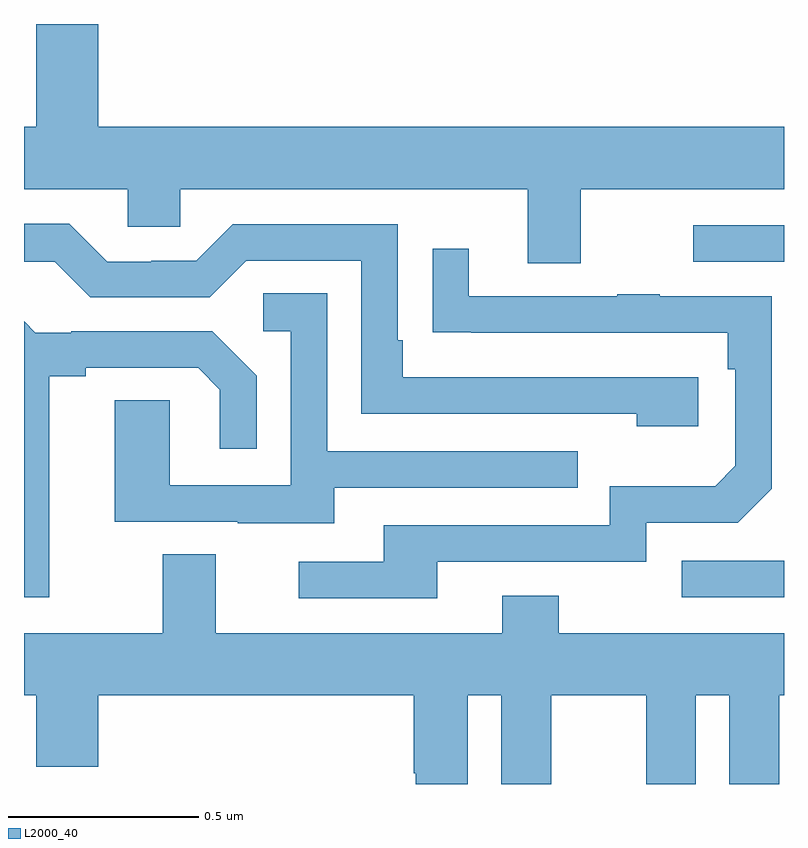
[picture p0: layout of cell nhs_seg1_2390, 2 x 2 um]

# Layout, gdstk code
import gdstk
lib = gdstk.Library(unit=1e-6, precision=1e-09)
def R(c, l, rs):  # rectangles x0, y0, x1, y1
    for r in rs: c.add(gdstk.rectangle(r[:2], r[2:], *l))
def P(c, l, *ps):  # polygons
    for p in ps: c.add(gdstk.Polygon(p, *l))
L2000_40 = (2000, 40)

nhs_seg1_2390 = lib.new_cell('nhs_seg1_2390')
R(nhs_seg1_2390, L2000_40, [(142.731,518.691,143,518.787), (142.761,519.573,143,519.669)])
P(nhs_seg1_2390, L2000_40, [(142.465,519.764),(143,519.764),(143,519.928),(141.196,519.928),(141.196,520.199),(141.032,520.199),(141.032,519.928),(141,519.928),(141,519.764),(141.273,519.764),(141.273,519.666),(141.411,519.666),(141.411,519.764),(142.325,519.764),(142.325,519.57),(142.465,519.57)],
  [(142.774,519.27),(141.997,519.27),(141.997,519.367),(141.984,519.367),(141.984,519.672),(141.549,519.672),(141.453,519.576),(141.335,519.576),(141.335,519.573),(141.219,519.573),(141.119,519.673),(141,519.673),(141,519.573),(141.081,519.573),(141.174,519.48),(141.489,519.48),(141.585,519.576),(141.888,519.576),(141.888,519.174),(142.613,519.174),(142.613,519.14),(142.774,519.14)],
  [(142.087,518.784),(142.638,518.784),(142.638,518.886),(142.878,518.886),(142.968,518.976),(142.968,519.483),(142.673,519.483),(142.673,519.488),(142.561,519.488),(142.561,519.483),(142.171,519.483),(142.171,519.607),(142.075,519.607),(142.075,519.388),(142.177,519.388),(142.177,519.387),(142.852,519.387),(142.852,519.29),(142.872,519.29),(142.872,519.036),(142.819,518.983),(142.542,518.983),(142.542,518.88),(141.947,518.88),(141.947,518.784),(141.723,518.784),(141.723,518.688),(142.087,518.688)],
  [(141.817,518.979),(142.457,518.979),(142.457,519.075),(141.798,519.075),(141.798,519.491),(141.63,519.491),(141.63,519.39),(141.702,519.39),(141.702,518.985),(141.384,518.985),(141.384,519.209),(141.239,519.209),(141.239,518.889),(141.563,518.889),(141.563,518.885),(141.817,518.885)],
  [(141.067,519.272),(141.163,519.272),(141.163,519.294),(141.458,519.294),(141.515,519.237),(141.515,519.081),(141.612,519.081),(141.612,519.274),(141.496,519.39),(141.124,519.39),(141.124,519.387),(141.03,519.387),(141,519.417),(141,518.691),(141.067,518.691)],
  [(142.168,518.432),(142.256,518.432),(142.256,518.199),(142.387,518.199),(142.387,518.432),(142.637,518.432),(142.637,518.199),(142.768,518.199),(142.768,518.432),(142.856,518.432),(142.856,518.199),(142.987,518.199),(142.987,518.432),(143,518.432),(143,518.596),(142.407,518.596),(142.407,518.695),(142.259,518.695),(142.259,518.596),(141.505,518.596),(141.505,518.804),(141.365,518.804),(141.365,518.596),(141,518.596),(141,518.432),(141.032,518.432),(141.032,518.244),(141.196,518.244),(141.196,518.432),(142.025,518.432),(142.025,518.227),(142.031,518.227),(142.031,518.199),(142.168,518.199)])

lib.write_gds('nhs_seg1_2390.gds')
